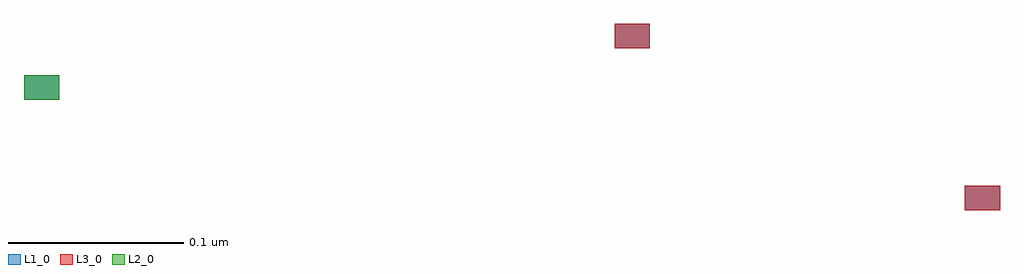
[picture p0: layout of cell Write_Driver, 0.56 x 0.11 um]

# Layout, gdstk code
import gdstk
lib = gdstk.Library(unit=1e-6, precision=5e-10)
def R(c, l, rs):  # rectangles x0, y0, x1, y1
    for r in rs: c.add(gdstk.rectangle(r[:2], r[2:], *l))
L1_0 = (1, 0)
L2_0 = (2, 0)
L3_0 = (3, 0)

write_driver = lib.new_cell('Write_Driver')
R(write_driver, L1_0, [(0.5985,0.2175,0.6185,0.2315), (0.0615,0.2805,0.0815,0.2945), (0.3985,0.31,0.4185,0.324)])
R(write_driver, L2_0, [(0.0615,0.2805,0.0815,0.2945)])
R(write_driver, L3_0, [(0.5985,0.2175,0.6185,0.2315), (0.3985,0.31,0.4185,0.324)])

lib.write_gds('Write_Driver.gds')
